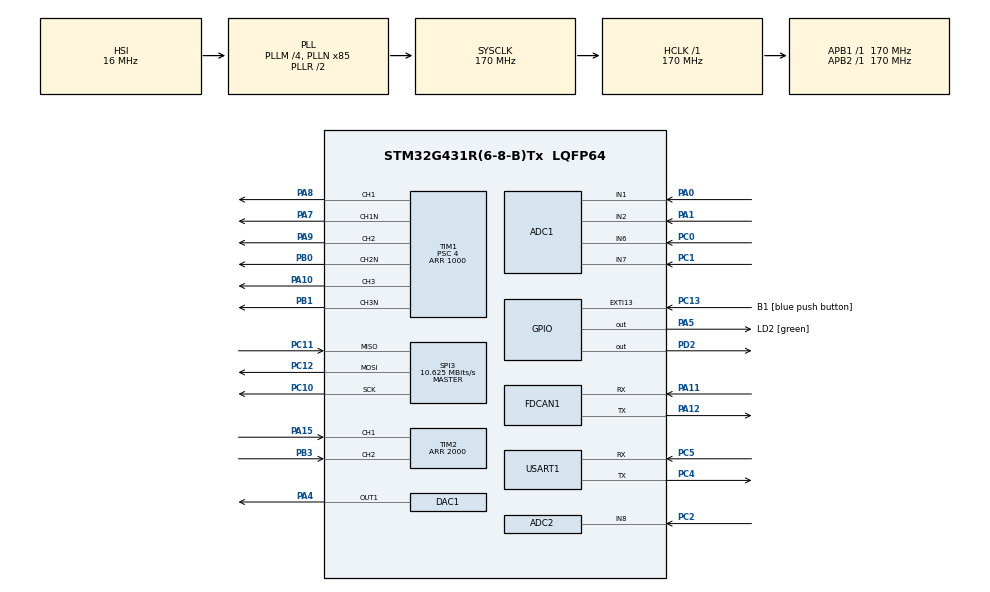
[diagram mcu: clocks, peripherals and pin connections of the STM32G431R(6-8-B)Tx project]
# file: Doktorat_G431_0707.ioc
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ADC1.ClockPrescaler=ADC_CLOCK_ASYNC_DIV4
ADC1.ContinuousConvMode=DISABLE
ADC1.EnableInjectedConversion=ENABLE
ADC1.EnableRegularConversion=DISABLE
ADC1.ExternalTrigInjecConv=ADC_EXTERNALTRIGINJEC_T1_CC4
ADC1.InjNumberOfConversion=4
ADC1.InjectedChannel-1\#ChannelInjectedConversion=ADC_CHANNEL_1
ADC1.InjectedChannel-2\#ChannelInjectedConversion=ADC_CHANNEL_2
ADC1.InjectedChannel-3\#ChannelInjectedConversion=ADC_CHANNEL_6
ADC1.InjectedChannel-4\#ChannelInjectedConversion=ADC_CHANNEL_7
ADC1.InjectedOffsetNumber-1\#ChannelInjectedConversion=ADC_OFFSET_NONE
ADC1.InjectedOffsetNumber-2\#ChannelInjectedConversion=ADC_OFFSET_NONE
ADC1.InjectedOffsetNumber-3\#ChannelInjectedConversion=ADC_OFFSET_NONE
ADC1.InjectedOffsetNumber-4\#ChannelInjectedConversion=ADC_OFFSET_NONE
ADC1.InjectedRank-1\#ChannelInjectedConversion=1
ADC1.InjectedRank-2\#ChannelInjectedConversion=2
ADC1.InjectedRank-3\#ChannelInjectedConversion=3
ADC1.InjectedRank-4\#ChannelInjectedConversion=4
ADC1.InjectedSamplingTime-1\#ChannelInjectedConversion=ADC_SAMPLETIME_12CYCLES_5
ADC1.InjectedSamplingTime-2\#ChannelInjectedConversion=ADC_SAMPLETIME_12CYCLES_5
ADC1.InjectedSamplingTime-3\#ChannelInjectedConversion=ADC_SAMPLETIME_12CYCLES_5
ADC1.InjectedSamplingTime-4\#ChannelInjectedConversion=ADC_SAMPLETIME_12CYCLES_5
ADC1.master=1
ADC2.Channel-1\#ChannelRegularConversion=ADC_CHANNEL_8
ADC2.ClockPrescaler=ADC_CLOCK_ASYNC_DIV4
ADC2.ExternalTrigConv=ADC_EXTERNALTRIG_T6_TRGO
ADC2.NbrOfConversion=1
ADC2.NbrOfConversionFlag=1
ADC2.OffsetNumber-1\#ChannelRegularConversion=ADC_OFFSET_NONE
ADC2.Rank-1\#ChannelRegularConversion=1
ADC2.SamplingTime-1\#ChannelRegularConversion=ADC_SAMPLETIME_2CYCLES_5
DAC1.DAC_Trigger_OUT1-DAC_OUT1=DAC_TRIGGER_SOFTWARE
FDCAN1.CalculateBaudRateNominal=2125000
FDCAN1.CalculateTimeBitNominal=470
FDCAN1.CalculateTimeQuantumNominal=94.11764705882354
Mcu.Family=STM32G4
Mcu.Name=STM32G431R(6-8-B)Tx
Mcu.Package=LQFP64
NVIC.ADC1_2_IRQn=true\:0\:0\:false\:false\:true\:true\:true\:true
NVIC.EXTI15_10_IRQn=true\:0\:0\:false\:false\:true\:true\:true\:true
NVIC.PriorityGroup=NVIC_PRIORITYGROUP_4
NVIC.TIM1_BRK_TIM15_IRQn=true\:0\:0\:false\:false\:true\:true\:true\:true
NVIC.TIM1_CC_IRQn=true\:0\:0\:false\:false\:true\:true\:true\:true
NVIC.TIM1_TRG_COM_TIM17_IRQn=true\:0\:0\:false\:false\:true\:true\:true\:true
NVIC.TIM1_UP_TIM16_IRQn=true\:0\:0\:false\:false\:true\:true\:true\:true
NVIC.TIM2_IRQn=true\:0\:0\:false\:false\:true\:true\:true\:true
NVIC.TIM6_DAC_IRQn=true\:0\:0\:false\:false\:true\:true\:true\:true
NVIC.USART1_IRQn=true\:0\:0\:false\:false\:true\:true\:true\:true
PA0.Mode=IN1-Single-Ended
PA0.Signal=ADC1_IN1
PA1.Mode=IN2-Single-Ended
PA1.Signal=ADC1_IN2
PA10.Signal=S_TIM1_CH3
PA11.Mode=FDCAN_Activate
PA11.Signal=FDCAN1_RX
PA12.Mode=FDCAN_Activate
PA12.Signal=FDCAN1_TX
PA13.GPIO_Label=T_SWDIO
PA13.Mode=Serial_Wire
PA13.Signal=SYS_JTMS-SWDIO
PA14.GPIO_Label=T_SWCLK
PA14.Mode=Serial_Wire
PA14.Signal=SYS_JTCK-SWCLK
PA15.Signal=S_TIM2_CH1
PA4.Signal=COMP_DAC11_group
PA5.GPIO_Label=LD2 [green]
PA5.Signal=GPIO_Output
PA7.Mode=PWM Generation1 CH1 CH1N
PA7.Signal=TIM1_CH1N
PA8.Signal=S_TIM1_CH1
PA9.Signal=S_TIM1_CH2
PB0.Mode=PWM Generation2 CH2 CH2N
PB0.Signal=TIM1_CH2N
PB1.Mode=PWM Generation3 CH3 CH3N
PB1.Signal=TIM1_CH3N
PB3.Signal=S_TIM2_CH2
PC0.Mode=IN6-Single-Ended
PC0.Signal=ADC1_IN6
PC1.Mode=IN7-Single-Ended
PC1.Signal=ADC1_IN7
PC10.Mode=Full_Duplex_Master
PC10.Signal=SPI3_SCK
PC11.Mode=Full_Duplex_Master
PC11.Signal=SPI3_MISO
PC12.Mode=Full_Duplex_Master
PC12.Signal=SPI3_MOSI
PC13.GPIO_Label=B1 [blue push button]
PC13.Signal=GPXTI13
PC14-OSC32_IN.Signal=RCC_OSC32_IN
PC15-OSC32_OUT.Signal=RCC_OSC32_OUT
PC2.Mode=IN8-Single-Ended
PC2.Signal=ADC2_IN8
PC4.Mode=Asynchronous
PC4.Signal=USART1_TX
PC5.Mode=Asynchronous
PC5.Signal=USART1_RX
PD2.Signal=GPIO_Output
PF0-OSC_IN.Signal=RCC_OSC_IN
PF1-OSC_OUT.Signal=RCC_OSC_OUT
ProjectManager.HeapSize=0x200
ProjectManager.StackSize=0x400
ProjectManager.TargetToolchain=STM32CubeIDE
RCC.ADC12Freq_Value=170000000
RCC.AHBFreq_Value=170000000
RCC.APB1Freq_Value=170000000
RCC.APB1TimFreq_Value=170000000
RCC.APB2Freq_Value=170000000
RCC.APB2TimFreq_Value=170000000
RCC.CortexFreq_Value=170000000
RCC.EXTERNAL_CLOCK_VALUE=12288000
RCC.HCLKFreq_Value=170000000
RCC.HSE_VALUE=24000000
RCC.HSI48_VALUE=48000000
RCC.HSI_VALUE=16000000
RCC.LSE_VALUE=32768
RCC.PLLM=RCC_PLLM_DIV4
RCC.PLLN=85
RCC.RTCClockSelection=RCC_RTCCLKSOURCE_LSE
RCC.SYSCLKFreq_VALUE=170000000
RCC.SYSCLKSource=RCC_SYSCLKSOURCE_PLLCLK
RCC.USBFreq_Value=170000000
RCC.VCOOutputFreq_Value=340000000
SH.COMP_DAC11_group.0=DAC1_OUT1,DAC_OUT1
SH.S_TIM1_CH1.0=TIM1_CH1,PWM Generation1 CH1 CH1N
SH.S_TIM1_CH2.0=TIM1_CH2,PWM Generation2 CH2 CH2N
SH.S_TIM1_CH3.0=TIM1_CH3,PWM Generation3 CH3 CH3N
SH.S_TIM2_CH1.0=TIM2_CH1,Encoder_Interface
SH.S_TIM2_CH2.0=TIM2_CH2,Encoder_Interface
SPI3.BaudRatePrescaler=SPI_BAUDRATEPRESCALER_16
SPI3.CLKPhase=SPI_PHASE_2EDGE
SPI3.CalculateBaudRate=10.625 MBits/s
SPI3.DataSize=SPI_DATASIZE_16BIT
SPI3.Direction=SPI_DIRECTION_2LINES
SPI3.Mode=SPI_MODE_MASTER
SPI3.VirtualType=VM_MASTER
TIM1.Channel-PWM\ Generation1\ CH1\ CH1N=TIM_CHANNEL_1
TIM1.Channel-PWM\ Generation2\ CH2\ CH2N=TIM_CHANNEL_2
TIM1.Channel-PWM\ Generation3\ CH3\ CH3N=TIM_CHANNEL_3
TIM1.Channel-PWM\ Generation4\ No\ Output=TIM_CHANNEL_4
TIM1.CounterMode=TIM_COUNTERMODE_CENTERALIGNED1
TIM1.DeadTime=150
TIM1.OCMode_PWM-PWM\ Generation3\ CH3\ CH3N=TIM_OCMODE_PWM1
TIM1.OCMode_PWM-PWM\ Generation4\ No\ Output=TIM_OCMODE_PWM2
TIM1.OCNPolarity_1=TIM_OCNPOLARITY_LOW
TIM1.OCNPolarity_2=TIM_OCNPOLARITY_LOW
TIM1.OCNPolarity_3=TIM_OCNPOLARITY_LOW
TIM1.PeriodNoDither=1000
TIM1.Prescaler=4
TIM1.PulseNoDither_3=0
TIM1.PulseNoDither_4=950
TIM1.TIM_MasterOutputTrigger=TIM_TRGO_OC4REF
TIM1.TIM_MasterOutputTrigger2=TIM_TRGO2_OC4REF
TIM2.CounterMode=TIM_COUNTERMODE_UP
TIM2.IC1Filter=10
TIM2.IC2Filter=10
TIM2.PeriodNoDither=2000
TIM2.TIM_MasterOutputTrigger=TIM_TRGO_UPDATE
TIM6.PeriodNoDither=999
TIM6.Prescaler=16
USART1.VirtualMode-Asynchronous=VM_ASYNC
VP_CORDIC_VS_CORDIC.Mode=CORDIC_Activate
VP_SYS_VS_DBSignals.Mode=DisableDeadBatterySignals
VP_TIM17_VS_ClockSourceINT.Mode=Enable_Timer
VP_TIM1_VS_ClockSourceINT.Mode=Internal
VP_TIM1_VS_no_output4.Mode=PWM Generation4 No Output
VP_TIM6_VS_ClockSourceINT.Mode=Enable_Timer
board=NUCLEO-G431RB

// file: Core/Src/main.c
/* USER CODE BEGIN Header */
/**
  ******************************************************************************
  * @file           : main.c
  * @brief          : Main program body
  ******************************************************************************
  * @attention
  *
  * Copyright (c) 2023 STMicroelectronics.
  * All rights reserved.
  *
  * This software is licensed under terms that can be found in the LICENSE file
  * in the root directory of this software component.
  * If no LICENSE file comes with this software, it is provided AS-IS.
  *
  ******************************************************************************
  */
/* USER CODE END Header */
#include "main.h"

/* USER CODE BEGIN Includes */
#include "Zmienna_Motor.h"
#include "stdio.h"
#include "stdint.h"
#include "stdlib.h"
#include "math.h"
#include "PI_reg.h"
/* USER CODE END Includes */

ADC_HandleTypeDef hadc1;
ADC_HandleTypeDef hadc2;
CORDIC_HandleTypeDef hcordic;
DAC_HandleTypeDef hdac1;
FDCAN_HandleTypeDef hfdcan1;
SPI_HandleTypeDef hspi3;
TIM_HandleTypeDef htim1;
TIM_HandleTypeDef htim2;
TIM_HandleTypeDef htim6;
TIM_HandleTypeDef htim17;
UART_HandleTypeDef huart1;

/* USER CODE BEGIN PV */
#define odczyt_pozycji (0x3FFE|0X4000|0x0000)  //value|READ|parity
#define PI 3.14
volatile uint16_t
				  bledy,
				  REG_PROG_ADR		=0x0003,//=0xC003,
				  REG_DIAAGC_ADR	=0X3FFC,//=0xFFFC,
				  REG_ERRFL_ADR		=0x0001,//=0x04001,
				  REG_MAG_ADR		=0x3ffD,//=0x7FFD,
				  REG_ANGLEUNC_ADR	=0x3ffE,//=0x7FFE,
				  REG_ANGLECOM_ADR	=0x3FFF,//=0xFFFF,

				  REG_PROG,
				  REG_DIAAGC,
				  REG_ERRFL,
				  REG_MAG,
				  REG_ANGLEUNC,
				  REG_ANGLECOM;

volatile uint16_t SPI_bufor_tx[4]={0Xff00,0x0000,0x0000,0000}, SPI_bufor_rx[4]={0};

uint8_t CAL_status;
int a,i,b;

volatile uint16_t kierunek, kierunek2 , Mag;
int32_t calka_pozycja;

extern PID_reg POSTION;
volatile uint8_t tryb_speed_m=1, bufor_tx[8]={0x05,0x11,0xca,0xfa,0xdc,0x44,0x55,0x77};
volatile uint16_t czas_10ms, czas_100ms, off;

PI_reg Iq_reg, Id_reg;

uint16_t get_even_flag(uint16_t k)
{
	uint16_t wartosc,p,i,parity=0;
	for(p=0;p<15;p++)
		{
	        parity^=(k>>p & 1);
		}
	if(parity) wartosc=k|0X8000;
	else wartosc=k&(~(0x8000));
	return wartosc;
}

int __io_putchar(int ch){

  while(!(USART2->ISR & 0x0080)){
      USART2->TDR = ch;

  }
  return ch;
}

/* USER CODE END PV */

void SystemClock_Config(void);
static void MX_GPIO_Init(void);
static void MX_ADC1_Init(void);
static void MX_SPI3_Init(void);
static void MX_TIM1_Init(void);
static void MX_TIM6_Init(void);
static void MX_TIM17_Init(void);
static void MX_ADC2_Init(void);
static void MX_DAC1_Init(void);
static void MX_TIM2_Init(void);
static void MX_CORDIC_Init(void);
static void MX_USART1_UART_Init(void);
static void MX_FDCAN1_Init(void);

int main(void)
{
  /* USER CODE BEGIN 1 */

	Iq_reg.KP = 10000;
	Iq_reg.KI = 200;
	Id_reg.KP = 10000;
	Id_reg.KI = 200;

  /* USER CODE END 1 */

  /* MCU Configuration--------------------------------------------------------*/

  /* Reset of all peripherals, Initializes the Flash interface and the Systick. */
  HAL_Init();

  /* Configure the system clock */
  SystemClock_Config();

  /* Initialize all configured peripherals */
  MX_GPIO_Init();
  MX_ADC1_Init();
  MX_SPI3_Init();
  MX_TIM1_Init();
  MX_TIM6_Init();
  MX_TIM17_Init();
  MX_ADC2_Init();
  MX_DAC1_Init();
  MX_TIM2_Init();
  MX_CORDIC_Init();
  MX_USART1_UART_Init();
  MX_FDCAN1_Init();
  /* USER CODE BEGIN 2 */

HAL_SPI_Init(&hspi3);
//REG_ANGLECOM=get_even_flag(REG_ANGLECOM_ADR|0X4000);
//REG_ANGLEUNC=get_even_flag(REG_ANGLEUNC_ADR|0X4000);
//REG_DIAAGC  =get_even_flag(REG_DIAAGC_ADR |0X4000 );
HAL_TIM_PWM_Start_IT(&htim1,TIM_CHANNEL_1);
HAL_TIM_PWM_Start_IT(&htim1,TIM_CHANNEL_2);
HAL_TIM_PWM_Start_IT(&htim1,TIM_CHANNEL_3);
HAL_TIM_PWM_Start_IT(&htim1,TIM_CHANNEL_4);
HAL_TIMEx_PWMN_Start_IT(&htim1, TIM_CHANNEL_1);
HAL_TIMEx_PWMN_Start_IT(&htim1, TIM_CHANNEL_2);
HAL_TIMEx_PWMN_Start_IT(&htim1, TIM_CHANNEL_3);
HAL_TIM_Encoder_Start_IT(&htim2, TIM_CHANNEL_1);
HAL_TIM_Encoder_Start_IT(&htim2, TIM_CHANNEL_2);

HAL_Delay(1);
SPI_bufor_tx[0]=REG_ANGLECOM_ADR;//odczyt_pozycji;
               	  		 // SPI_bufor_tx[1]=odczyt_pozycji&0XFF;
HAL_GPIO_WritePin(GPIOD,GPIO_PIN_2,0);
HAL_SPI_Transmit(&hspi3,&SPI_bufor_tx,1,2);
HAL_GPIO_WritePin(GPIOD,GPIO_PIN_2,1);
SPI_bufor_tx[0]=0X0000;
HAL_GPIO_WritePin(GPIOD,GPIO_PIN_2,0);
HAL_SPI_Receive(&hspi3,&SPI_bufor_rx,1,2);
HAL_GPIO_WritePin(GPIOD,GPIO_PIN_2,1);
REG_ANGLECOM=pozycja_walu=SPI_bufor_rx[0]&0X3fff;

SPI_bufor_rx[0]=0;

HAL_ADCEx_InjectedStart_IT(&hadc1);
POSTION.KP=20000;
POSTION.KI=1U;
POSTION.KD=220000;

  /* USER CODE END 2 */

  /* Infinite loop */
  /* USER CODE BEGIN WHILE */
  while (1)
  {

	  if(czas_100ms==1)
	  {
		  //bufor_tx[0]='$'; // synchro
		  bufor_tx[1]=rpm_speed>>8;
		  bufor_tx[2]=rpm_speed;
		  bufor_tx[0]=0x55;
		  HAL_UART_Transmit(&huart1,bufor_tx , 3, 1);
		  czas_100ms=0;

	  }

kierunek2=(TIM2->CR1)&0x10;
kierunek=kierunek2;

    /* USER CODE END WHILE */

  }
}

void SystemClock_Config(void)
{
  RCC_OscInitTypeDef RCC_OscInitStruct = {0};
  RCC_ClkInitTypeDef RCC_ClkInitStruct = {0};

  /** Configure the main internal regulator output voltage
  */
  HAL_PWREx_ControlVoltageScaling(PWR_REGULATOR_VOLTAGE_SCALE1_BOOST);

  /** Initializes the RCC Oscillators according to the specified parameters
  * in the RCC_OscInitTypeDef structure.
  */
  RCC_OscInitStruct.OscillatorType = RCC_OSCILLATORTYPE_HSI;
  RCC_OscInitStruct.HSIState = RCC_HSI_ON;
  RCC_OscInitStruct.HSICalibrationValue = RCC_HSICALIBRATION_DEFAULT;
  RCC_OscInitStruct.PLL.PLLState = RCC_PLL_ON;
  RCC_OscInitStruct.PLL.PLLSource = RCC_PLLSOURCE_HSI;
  RCC_OscInitStruct.PLL.PLLM = RCC_PLLM_DIV4;
  RCC_OscInitStruct.PLL.PLLN = 85;
  RCC_OscInitStruct.PLL.PLLP = RCC_PLLP_DIV2;
  RCC_OscInitStruct.PLL.PLLQ = RCC_PLLQ_DIV2;
  RCC_OscInitStruct.PLL.PLLR = RCC_PLLR_DIV2;
  if (HAL_RCC_OscConfig(&RCC_OscInitStruct) != HAL_OK)
  {
    Error_Handler();
  }

  /** Initializes the CPU, AHB and APB buses clocks
  */
  RCC_ClkInitStruct.ClockType = RCC_CLOCKTYPE_HCLK|RCC_CLOCKTYPE_SYSCLK
                              |RCC_CLOCKTYPE_PCLK1|RCC_CLOCKTYPE_PCLK2;
  RCC_ClkInitStruct.SYSCLKSource = RCC_SYSCLKSOURCE_PLLCLK;
  RCC_ClkInitStruct.AHBCLKDivider = RCC_SYSCLK_DIV1;
  RCC_ClkInitStruct.APB1CLKDivider = RCC_HCLK_DIV1;
  RCC_ClkInitStruct.APB2CLKDivider = RCC_HCLK_DIV1;

  if (HAL_RCC_ClockConfig(&RCC_ClkInitStruct, FLASH_LATENCY_4) != HAL_OK)
  {
    Error_Handler();
  }
}

static void MX_ADC1_Init(void)
{

  ADC_MultiModeTypeDef multimode = {0};
  ADC_InjectionConfTypeDef sConfigInjected = {0};

  /** Common config
  */
  hadc1.Instance = ADC1;
  hadc1.Init.ClockPrescaler = ADC_CLOCK_ASYNC_DIV4;
  hadc1.Init.Resolution = ADC_RESOLUTION_12B;
  hadc1.Init.DataAlign = ADC_DATAALIGN_RIGHT;
  hadc1.Init.GainCompensation = 0;
  hadc1.Init.ScanConvMode = ADC_SCAN_ENABLE;
  hadc1.Init.EOCSelection = ADC_EOC_SINGLE_CONV;
  hadc1.Init.LowPowerAutoWait = DISABLE;
  hadc1.Init.ContinuousConvMode = DISABLE;
  hadc1.Init.NbrOfConversion = 1;
  hadc1.Init.DiscontinuousConvMode = DISABLE;
  hadc1.Init.DMAContinuousRequests = DISABLE;
  hadc1.Init.Overrun = ADC_OVR_DATA_PRESERVED;
  hadc1.Init.OversamplingMode = DISABLE;
  if (HAL_ADC_Init(&hadc1) != HAL_OK)
  {
    Error_Handler();
  }

  /** Configure the ADC multi-mode
  */
  multimode.Mode = ADC_MODE_INDEPENDENT;
  if (HAL_ADCEx_MultiModeConfigChannel(&hadc1, &multimode) != HAL_OK)
  {
    Error_Handler();
  }

  /** Configure Injected Channel
  */
  sConfigInjected.InjectedChannel = ADC_CHANNEL_1;
  sConfigInjected.InjectedRank = ADC_INJECTED_RANK_1;
  sConfigInjected.InjectedSamplingTime = ADC_SAMPLETIME_12CYCLES_5;
  sConfigInjected.InjectedSingleDiff = ADC_SINGLE_ENDED;
  sConfigInjected.InjectedOffsetNumber = ADC_OFFSET_NONE;
  sConfigInjected.InjectedOffset = 0;
  sConfigInjected.InjectedNbrOfConversion = 4;
  sConfigInjected.InjectedDiscontinuousConvMode = DISABLE;
  sConfigInjected.AutoInjectedConv = DISABLE;
  sConfigInjected.QueueInjectedContext = DISABLE;
  sConfigInjected.ExternalTrigInjecConv = ADC_EXTERNALTRIGINJEC_T1_CC4;
  sConfigInjected.ExternalTrigInjecConvEdge = ADC_EXTERNALTRIGINJECCONV_EDGE_RISING;
  sConfigInjected.InjecOversamplingMode = DISABLE;
  if (HAL_ADCEx_InjectedConfigChannel(&hadc1, &sConfigInjected) != HAL_OK)
  {
    Error_Handler();
  }

  /** Configure Injected Channel
  */
  sConfigInjected.InjectedChannel = ADC_CHANNEL_2;
  sConfigInjected.InjectedRank = ADC_INJECTED_RANK_2;
  if (HAL_ADCEx_InjectedConfigChannel(&hadc1, &sConfigInjected) != HAL_OK)
  {
    Error_Handler();
  }

  /** Configure Injected Channel
  */
  sConfigInjected.InjectedChannel = ADC_CHANNEL_6;
  sConfigInjected.InjectedRank = ADC_INJECTED_RANK_3;
  if (HAL_ADCEx_InjectedConfigChannel(&hadc1, &sConfigInjected) != HAL_OK)
  {
    Error_Handler();
  }

  /** Configure Injected Channel
  */
  sConfigInjected.InjectedChannel = ADC_CHANNEL_7;
  sConfigInjected.InjectedRank = ADC_INJECTED_RANK_4;
  if (HAL_ADCEx_InjectedConfigChannel(&hadc1, &sConfigInjected) != HAL_OK)
  {
    Error_Handler();
  }

}

static void MX_ADC2_Init(void)
{

  ADC_ChannelConfTypeDef sConfig = {0};

  /** Common config
  */
  hadc2.Instance = ADC2;
  hadc2.Init.ClockPrescaler = ADC_CLOCK_ASYNC_DIV4;
  hadc2.Init.Resolution = ADC_RESOLUTION_12B;
  hadc2.Init.DataAlign = ADC_DATAALIGN_RIGHT;
  hadc2.Init.GainCompensation = 0;
  hadc2.Init.ScanConvMode = ADC_SCAN_DISABLE;
  hadc2.Init.EOCSelection = ADC_EOC_SINGLE_CONV;
  hadc2.Init.LowPowerAutoWait = DISABLE;
  hadc2.Init.ContinuousConvMode = DISABLE;
  hadc2.Init.NbrOfConversion = 1;
  hadc2.Init.DiscontinuousConvMode = DISABLE;
  hadc2.Init.ExternalTrigConv = ADC_EXTERNALTRIG_T6_TRGO;
  hadc2.Init.ExternalTrigConvEdge = ADC_EXTERNALTRIGCONVEDGE_RISING;
  hadc2.Init.DMAContinuousRequests = DISABLE;
  hadc2.Init.Overrun = ADC_OVR_DATA_PRESERVED;
  hadc2.Init.OversamplingMode = DISABLE;
  if (HAL_ADC_Init(&hadc2) != HAL_OK)
  {
    Error_Handler();
  }

  /** Configure Regular Channel
  */
  sConfig.Channel = ADC_CHANNEL_8;
  sConfig.Rank = ADC_REGULAR_RANK_1;
  sConfig.SamplingTime = ADC_SAMPLETIME_2CYCLES_5;
  sConfig.SingleDiff = ADC_SINGLE_ENDED;
  sConfig.OffsetNumber = ADC_OFFSET_NONE;
  sConfig.Offset = 0;
  if (HAL_ADC_ConfigChannel(&hadc2, &sConfig) != HAL_OK)
  {
    Error_Handler();
  }

}

static void MX_CORDIC_Init(void)
{

  hcordic.Instance = CORDIC;
  if (HAL_CORDIC_Init(&hcordic) != HAL_OK)
  {
    Error_Handler();
  }

}

static void MX_DAC1_Init(void)
{

  DAC_ChannelConfTypeDef sConfig = {0};

  /** DAC Initialization
  */
  hdac1.Instance = DAC1;
  if (HAL_DAC_Init(&hdac1) != HAL_OK)
  {
    Error_Handler();
  }

  /** DAC channel OUT1 config
  */
  sConfig.DAC_HighFrequency = DAC_HIGH_FREQUENCY_INTERFACE_MODE_AUTOMATIC;
  sConfig.DAC_DMADoubleDataMode = DISABLE;
  sConfig.DAC_SignedFormat = DISABLE;
  sConfig.DAC_SampleAndHold = DAC_SAMPLEANDHOLD_DISABLE;
  sConfig.DAC_Trigger = DAC_TRIGGER_SOFTWARE;
  sConfig.DAC_Trigger2 = DAC_TRIGGER_NONE;
  sConfig.DAC_OutputBuffer = DAC_OUTPUTBUFFER_ENABLE;
  sConfig.DAC_ConnectOnChipPeripheral = DAC_CHIPCONNECT_EXTERNAL;
  sConfig.DAC_UserTrimming = DAC_TRIMMING_FACTORY;
  if (HAL_DAC_ConfigChannel(&hdac1, &sConfig, DAC_CHANNEL_1) != HAL_OK)
  {
    Error_Handler();
  }

}

static void MX_FDCAN1_Init(void)
{

  hfdcan1.Instance = FDCAN1;
  hfdcan1.Init.ClockDivider = FDCAN_CLOCK_DIV1;
  hfdcan1.Init.FrameFormat = FDCAN_FRAME_CLASSIC;
  hfdcan1.Init.Mode = FDCAN_MODE_NORMAL;
  hfdcan1.Init.AutoRetransmission = DISABLE;
  hfdcan1.Init.TransmitPause = DISABLE;
  hfdcan1.Init.ProtocolException = DISABLE;
  hfdcan1.Init.NominalPrescaler = 16;
  hfdcan1.Init.NominalSyncJumpWidth = 1;
  hfdcan1.Init.NominalTimeSeg1 = 2;
  hfdcan1.Init.NominalTimeSeg2 = 2;
  hfdcan1.Init.DataPrescaler = 1;
  hfdcan1.Init.DataSyncJumpWidth = 1;
  hfdcan1.Init.DataTimeSeg1 = 1;
  hfdcan1.Init.DataTimeSeg2 = 1;
  hfdcan1.Init.StdFiltersNbr = 0;
  hfdcan1.Init.ExtFiltersNbr = 0;
  hfdcan1.Init.TxFifoQueueMode = FDCAN_TX_FIFO_OPERATION;
  if (HAL_FDCAN_Init(&hfdcan1) != HAL_OK)
  {
    Error_Handler();
  }

}

static void MX_SPI3_Init(void)
{

  /* SPI3 parameter configuration*/
  hspi3.Instance = SPI3;
  hspi3.Init.Mode = SPI_MODE_MASTER;
  hspi3.Init.Direction = SPI_DIRECTION_2LINES;
  hspi3.Init.DataSize = SPI_DATASIZE_16BIT;
  hspi3.Init.CLKPolarity = SPI_POLARITY_LOW;
  hspi3.Init.CLKPhase = SPI_PHASE_2EDGE;
  hspi3.Init.NSS = SPI_NSS_SOFT;
  hspi3.Init.BaudRatePrescaler = SPI_BAUDRATEPRESCALER_16;
  hspi3.Init.FirstBit = SPI_FIRSTBIT_MSB;
  hspi3.Init.TIMode = SPI_TIMODE_DISABLE;
  hspi3.Init.CRCCalculation = SPI_CRCCALCULATION_DISABLE;
  hspi3.Init.CRCPolynomial = 7;
  hspi3.Init.CRCLength = SPI_CRC_LENGTH_DATASIZE;
  hspi3.Init.NSSPMode = SPI_NSS_PULSE_DISABLE;
  if (HAL_SPI_Init(&hspi3) != HAL_OK)
  {
    Error_Handler();
  }

}

static void MX_TIM1_Init(void)
{

  TIM_ClockConfigTypeDef sClockSourceConfig = {0};
  TIM_MasterConfigTypeDef sMasterConfig = {0};
  TIM_OC_InitTypeDef sConfigOC = {0};
  TIM_BreakDeadTimeConfigTypeDef sBreakDeadTimeConfig = {0};

  htim1.Instance = TIM1;
  htim1.Init.Prescaler = 7;
  htim1.Init.CounterMode = TIM_COUNTERMODE_CENTERALIGNED1;
  htim1.Init.Period = 1000;
  htim1.Init.ClockDivision = TIM_CLOCKDIVISION_DIV1;
  htim1.Init.RepetitionCounter = 0;
  htim1.Init.AutoReloadPreload = TIM_AUTORELOAD_PRELOAD_DISABLE;
  if (HAL_TIM_Base_Init(&htim1) != HAL_OK)
  {
    Error_Handler();
  }
  sClockSourceConfig.ClockSource = TIM_CLOCKSOURCE_INTERNAL;
  if (HAL_TIM_ConfigClockSource(&htim1, &sClockSourceConfig) != HAL_OK)
  {
    Error_Handler();
  }
  if (HAL_TIM_PWM_Init(&htim1) != HAL_OK)
  {
    Error_Handler();
  }
  sMasterConfig.MasterOutputTrigger = TIM_TRGO_OC4REF;
  sMasterConfig.MasterOutputTrigger2 = TIM_TRGO2_OC4REF;
  sMasterConfig.MasterSlaveMode = TIM_MASTERSLAVEMODE_DISABLE;
  if (HAL_TIMEx_MasterConfigSynchronization(&htim1, &sMasterConfig) != HAL_OK)
  {
    Error_Handler();
  }
  sConfigOC.OCMode = TIM_OCMODE_PWM1;
  sConfigOC.Pulse = 0;
  sConfigOC.OCPolarity = TIM_OCPOLARITY_HIGH;
  sConfigOC.OCNPolarity = TIM_OCNPOLARITY_LOW;
  sConfigOC.OCFastMode = TIM_OCFAST_DISABLE;
  sConfigOC.OCIdleState = TIM_OCIDLESTATE_RESET;
  sConfigOC.OCNIdleState = TIM_OCNIDLESTATE_RESET;
  if (HAL_TIM_PWM_ConfigChannel(&htim1, &sConfigOC, TIM_CHANNEL_1) != HAL_OK)
  {
    Error_Handler();
  }
  if (HAL_TIM_PWM_ConfigChannel(&htim1, &sConfigOC, TIM_CHANNEL_2) != HAL_OK)
  {
    Error_Handler();
  }
  if (HAL_TIM_PWM_ConfigChannel(&htim1, &sConfigOC, TIM_CHANNEL_3) != HAL_OK)
  {
    Error_Handler();
  }
  sConfigOC.OCMode = TIM_OCMODE_PWM2;
  sConfigOC.Pulse = 990;
  sConfigOC.OCNPolarity = TIM_OCNPOLARITY_HIGH;
  if (HAL_TIM_PWM_ConfigChannel(&htim1, &sConfigOC, TIM_CHANNEL_4) != HAL_OK)
  {
    Error_Handler();
  }
  sBreakDeadTimeConfig.OffStateRunMode = TIM_OSSR_DISABLE;
  sBreakDeadTimeConfig.OffStateIDLEMode = TIM_OSSI_DISABLE;
  sBreakDeadTimeConfig.LockLevel = TIM_LOCKLEVEL_OFF;
  sBreakDeadTimeConfig.DeadTime = 70;
  sBreakDeadTimeConfig.BreakState = TIM_BREAK_DISABLE;
  sBreakDeadTimeConfig.BreakPolarity = TIM_BREAKPOLARITY_HIGH;
  sBreakDeadTimeConfig.BreakFilter = 0;
  sBreakDeadTimeConfig.BreakAFMode = TIM_BREAK_AFMODE_INPUT;
  sBreakDeadTimeConfig.Break2State = TIM_BREAK2_DISABLE;
  sBreakDeadTimeConfig.Break2Polarity = TIM_BREAK2POLARITY_HIGH;
  sBreakDeadTimeConfig.Break2Filter = 0;
  sBreakDeadTimeConfig.Break2AFMode = TIM_BREAK_AFMODE_INPUT;
  sBreakDeadTimeConfig.AutomaticOutput = TIM_AUTOMATICOUTPUT_DISABLE;
  if (HAL_TIMEx_ConfigBreakDeadTime(&htim1, &sBreakDeadTimeConfig) != HAL_OK)
  {
    Error_Handler();
  }
  HAL_TIM_MspPostInit(&htim1);

}

static void MX_TIM2_Init(void)
{

  TIM_Encoder_InitTypeDef sConfig = {0};
  TIM_MasterConfigTypeDef sMasterConfig = {0};

  htim2.Instance = TIM2;
  htim2.Init.Prescaler = 0;
  htim2.Init.CounterMode = TIM_COUNTERMODE_UP;
  htim2.Init.Period = 2000;
  htim2.Init.ClockDivision = TIM_CLOCKDIVISION_DIV1;
  htim2.Init.AutoReloadPreload = TIM_AUTORELOAD_PRELOAD_DISABLE;
  sConfig.EncoderMode = TIM_ENCODERMODE_TI1;
  sConfig.IC1Polarity = TIM_ICPOLARITY_RISING;
  sConfig.IC1Selection = TIM_ICSELECTION_DIRECTTI;
  sConfig.IC1Prescaler = TIM_ICPSC_DIV1;
  sConfig.IC1Filter = 10;
  sConfig.IC2Polarity = TIM_ICPOLARITY_RISING;
  sConfig.IC2Selection = TIM_ICSELECTION_DIRECTTI;
  sConfig.IC2Prescaler = TIM_ICPSC_DIV1;
  sConfig.IC2Filter = 10;
  if (HAL_TIM_Encoder_Init(&htim2, &sConfig) != HAL_OK)
  {
    Error_Handler();
  }
  sMasterConfig.MasterOutputTrigger = TIM_TRGO_UPDATE;
  sMasterConfig.MasterSlaveMode = TIM_MASTERSLAVEMODE_DISABLE;
  if (HAL_TIMEx_MasterConfigSynchronization(&htim2, &sMasterConfig) != HAL_OK)
  {
    Error_Handler();
  }

}

static void MX_TIM6_Init(void)
{

  TIM_MasterConfigTypeDef sMasterConfig = {0};

  htim6.Instance = TIM6;
  htim6.Init.Prescaler = 16;
  htim6.Init.CounterMode = TIM_COUNTERMODE_UP;
  htim6.Init.Period = 999;
  htim6.Init.AutoReloadPreload = TIM_AUTORELOAD_PRELOAD_DISABLE;
  if (HAL_TIM_Base_Init(&htim6) != HAL_OK)
  {
    Error_Handler();
  }
  sMasterConfig.MasterOutputTrigger = TIM_TRGO_RESET;
  sMasterConfig.MasterSlaveMode = TIM_MASTERSLAVEMODE_DISABLE;
  if (HAL_TIMEx_MasterConfigSynchronization(&htim6, &sMasterConfig) != HAL_OK)
  {
    Error_Handler();
  }

}

static void MX_TIM17_Init(void)
{

  htim17.Instance = TIM17;
  htim17.Init.Prescaler = 0;
  htim17.Init.CounterMode = TIM_COUNTERMODE_UP;
  htim17.Init.Period = 65535;
  htim17.Init.ClockDivision = TIM_CLOCKDIVISION_DIV1;
  htim17.Init.RepetitionCounter = 0;
  htim17.Init.AutoReloadPreload = TIM_AUTORELOAD_PRELOAD_DISABLE;
  if (HAL_TIM_Base_Init(&htim17) != HAL_OK)
  {
    Error_Handler();
  }

}

static void MX_USART1_UART_Init(void)
{

  huart1.Instance = USART1;
  huart1.Init.BaudRate = 9600; //921600
  huart1.Init.WordLength = UART_WORDLENGTH_8B;
  huart1.Init.StopBits = UART_STOPBITS_1;
  huart1.Init.Parity = UART_PARITY_NONE;
  huart1.Init.Mode = UART_MODE_TX_RX;
  huart1.Init.HwFlowCtl = UART_HWCONTROL_NONE;
  huart1.Init.OverSampling = UART_OVERSAMPLING_16;
  huart1.Init.OneBitSampling = UART_ONE_BIT_SAMPLE_DISABLE;
  huart1.Init.ClockPrescaler = UART_PRESCALER_DIV1;
  huart1.AdvancedInit.AdvFeatureInit = UART_ADVFEATURE_NO_INIT;
  if (HAL_UART_Init(&huart1) != HAL_OK)
  {
    Error_Handler();
  }
  if (HAL_UARTEx_SetTxFifoThreshold(&huart1, UART_TXFIFO_THRESHOLD_1_8) != HAL_OK)
  {
    Error_Handler();
  }
  if (HAL_UARTEx_SetRxFifoThreshold(&huart1, UART_RXFIFO_THRESHOLD_1_8) != HAL_OK)
  {
    Error_Handler();
  }
  if (HAL_UARTEx_DisableFifoMode(&huart1) != HAL_OK)
  {
    Error_Handler();
  }

}

static void MX_GPIO_Init(void)
{
  GPIO_InitTypeDef GPIO_InitStruct = {0};

  /* GPIO Ports Clock Enable */
  __HAL_RCC_GPIOC_CLK_ENABLE();
  __HAL_RCC_GPIOF_CLK_ENABLE();
  __HAL_RCC_GPIOA_CLK_ENABLE();
  __HAL_RCC_GPIOB_CLK_ENABLE();
  __HAL_RCC_GPIOD_CLK_ENABLE();

  /*Configure GPIO pin Output Level */
  HAL_GPIO_WritePin(LD2_GPIO_Port, LD2_Pin, GPIO_PIN_RESET);

  /*Configure GPIO pin Output Level */
  HAL_GPIO_WritePin(GPIOD, GPIO_PIN_2, GPIO_PIN_RESET);

  /*Configure GPIO pin : B1_Pin */
  GPIO_InitStruct.Pin = B1_Pin;
  GPIO_InitStruct.Mode = GPIO_MODE_IT_RISING;
  GPIO_InitStruct.Pull = GPIO_NOPULL;
  HAL_GPIO_Init(B1_GPIO_Port, &GPIO_InitStruct);

  /*Configure GPIO pin : LD2_Pin */
  GPIO_InitStruct.Pin = LD2_Pin;
  GPIO_InitStruct.Mode = GPIO_MODE_OUTPUT_PP;
  GPIO_InitStruct.Pull = GPIO_NOPULL;
  GPIO_InitStruct.Speed = GPIO_SPEED_FREQ_LOW;
  HAL_GPIO_Init(LD2_GPIO_Port, &GPIO_InitStruct);

  /*Configure GPIO pin : PD2 */
  GPIO_InitStruct.Pin = GPIO_PIN_2;
  GPIO_InitStruct.Mode = GPIO_MODE_OUTPUT_PP;
  GPIO_InitStruct.Pull = GPIO_NOPULL;
  GPIO_InitStruct.Speed = GPIO_SPEED_FREQ_LOW;
  HAL_GPIO_Init(GPIOD, &GPIO_InitStruct);

  /* EXTI interrupt init*/
  HAL_NVIC_SetPriority(EXTI15_10_IRQn, 0, 0);
  HAL_NVIC_EnableIRQ(EXTI15_10_IRQn);

}

/* USER CODE BEGIN 4 */

void HAL_ADCEx_InjectedConvCpltCallback(ADC_HandleTypeDef* hadc)
{

	/**POMIAR PRADU **/ //2us
	//====offset ADC=====//
	GPIOA->ODR|= 1<<5;
if(CAL_status==0)
{
	TIM1->CCR1=1000;TIM1->CCR2=1000;TIM1->CCR3=1000;
	for(int i=0;i<1000000;i++)
	{
		ADC_CAL[0]=HAL_ADCEx_InjectedGetValue(&hadc1, ADC_INJECTED_RANK_1);
		ADC_CAL[2]=HAL_ADCEx_InjectedGetValue(&hadc1, ADC_INJECTED_RANK_4);
	}
	CAL_status=1;

}
	//====offset ADC=====//

prad[0] = HAL_ADCEx_InjectedGetValue(&hadc1, ADC_INJECTED_RANK_1);
prad[1] = HAL_ADCEx_InjectedGetValue(&hadc1, ADC_INJECTED_RANK_2);
prad[2] = HAL_ADCEx_InjectedGetValue(&hadc1, ADC_INJECTED_RANK_3);
prad[3] = HAL_ADCEx_InjectedGetValue(&hadc1, ADC_INJECTED_RANK_4);
I_a_ADC = -(prad[0] - ADC_CAL[0]); // prad fazy A
I_b_ADC=  -(prad[3] - ADC_CAL[2]); // prad fazy B
DC_bus_volt_ADC = prad[1];		 // napięcie szyny DC

						/**POMIAR POZYCJI**/ //6us

SPI_bufor_tx[0]=REG_ANGLECOM_ADR;
HAL_GPIO_WritePin(GPIOD,GPIO_PIN_2,0);
HAL_SPI_TransmitReceive(&hspi3, (uint8_t*)SPI_bufor_tx, (uint8_t*)SPI_bufor_rx, 1, 0);
HAL_GPIO_WritePin(GPIOD,GPIO_PIN_2,1);
REG_ANGLECOM=pozycja_walu=SPI_bufor_rx[0]&0X3fff;

					/**OBLICZENIA WEKTOR FOC**/ //15us

/**OBLICZENIA KĄTA THETA**/
angle_theta_calc();

/**TRANS CLARK **/
clark_transf(I_a_ADC, I_b_ADC, (int16_t*)&prad_alpha, (int16_t*)&prad_beta);

/**TRANS PARK **/
park_transf(prad_alpha, prad_beta, pozycja_walu_deg, &prad_q, &prad_d);

/**TORQ, FLUX REG PI **/
//Iqd_current_reg();
PI_REG(&Iq_reg, prad_q, prad_q_zad, (int32_t*)&PI_VQ_out);
PI_REG(&Id_reg, prad_d, prad_d_zad, (int32_t*)&PI_VD_out);

							/**TRANSFORMATA ODWROTNA PARK'a**/
park_rev_transf(PI_VD_out, PI_VQ_out, pozycja_walu_deg,
		(int32_t*)&napiecie_Ualpha, (int32_t*)&napiecie_Ubeta);

							/**TRANSFORMATA ODWROTNA CLARKA'a**/ //jesli SVPWM to ta transformata nie potrzena
napiecie_U_U = napiecie_Ualpha;
napiecie_U_V = ((napiecie_Ubeta * 1.73) - napiecie_Ualpha) * 0.5;
napiecie_U_W = ((-napiecie_Ubeta * 1.73) - napiecie_Ualpha) * 0.5;

							/**MODULACJA PWM**/

SVPWM_modulacja(napiecie_Ualpha, napiecie_Ubeta, &U_SVPWM, &V_SVPWM, &W_SVPWM );

PWM_U = (uint16_t)((U_SVPWM) + 500); // 500 bo to 0.5PWM offset
PWM_V = (uint16_t)((V_SVPWM) + 500);
PWM_W = (uint16_t)((W_SVPWM) + 500);

SPWM_modulacja();

							/**pomocnicze**///25u
/*
Generacja_Sinusa();
SPWM_modulacja();
*/
SPI_bufor_rx[0]=0;

GPIOA->ODR &=~ 1<<5;

}
/* USER CODE END 4 */

void Error_Handler(void)
{
  __disable_irq();
  while (1)
  {
  }
}
